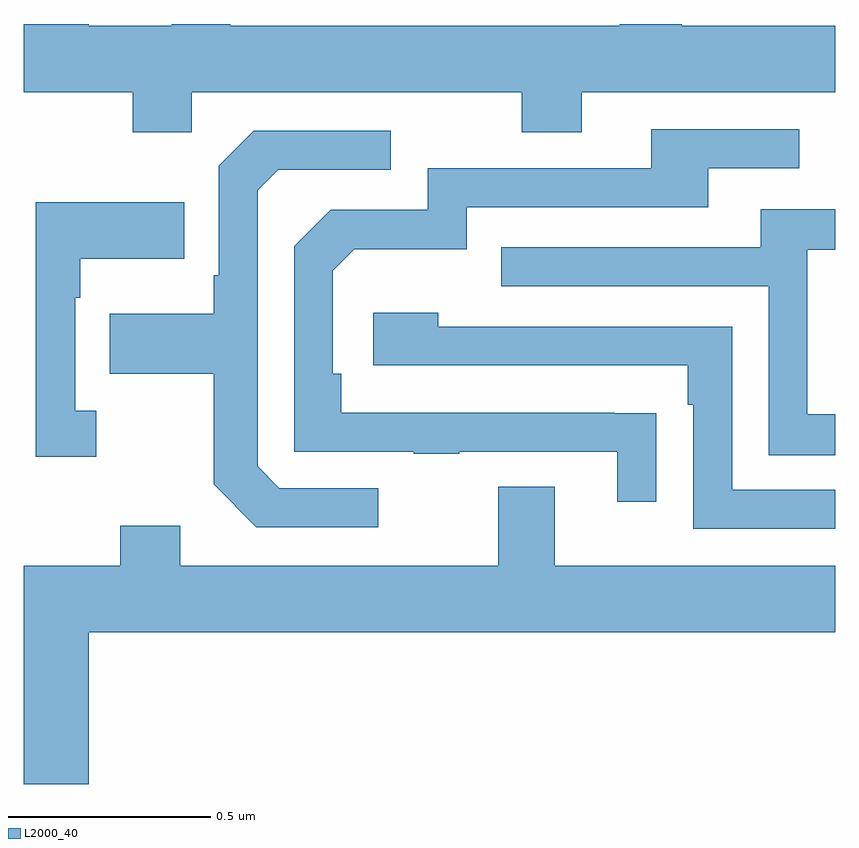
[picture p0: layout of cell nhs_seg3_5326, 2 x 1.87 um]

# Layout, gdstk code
import gdstk
lib = gdstk.Library(unit=1e-6, precision=1e-09)
def P(c, l, *ps):  # polygons
    for p in ps: c.add(gdstk.Polygon(p, *l))
L2000_40 = (2000, 40)

nhs_seg3_5326 = lib.new_cell('nhs_seg3_5326')
P(nhs_seg3_5326, L2000_40, [(177.414,718.232),(178.228,718.232),(178.228,718.133),(178.375,718.133),(178.375,718.232),(179,718.232),(179,718.396),(178.622,718.396),(178.622,718.4),(178.469,718.4),(178.469,718.396),(177.509,718.396),(177.509,718.4),(177.365,718.4),(177.365,718.396),(177.16,718.396),(177.16,718.4),(177,718.4),(177,718.232),(177.268,718.232),(177.268,718.133),(177.414,718.133)],
  [(178.559,717.44),(178.457,717.44),(178.457,717.441),(177.782,717.441),(177.782,717.538),(177.762,717.538),(177.762,717.792),(177.815,717.845),(178.092,717.845),(178.092,717.948),(178.687,717.948),(178.687,718.044),(178.912,718.044),(178.912,718.14),(178.547,718.14),(178.547,718.044),(177.996,718.044),(177.996,717.942),(177.756,717.942),(177.666,717.852),(177.666,717.345),(177.961,717.345),(177.961,717.34),(178.073,717.34),(178.073,717.345),(178.463,717.345),(178.463,717.222),(178.559,717.222)],
  [(177.874,717.255),(177.63,717.255),(177.576,717.309),(177.576,717.99),(177.627,718.041),(177.904,718.041),(177.904,718.137),(177.567,718.137),(177.48,718.05),(177.48,717.781),(177.468,717.781),(177.468,717.685),(177.211,717.685),(177.211,717.538),(177.468,717.538),(177.468,717.265),(177.573,717.159),(177.874,717.159)],
  [(177.178,717.446),(177.126,717.446),(177.126,717.725),(177.139,717.725),(177.139,717.821),(177.395,717.821),(177.395,717.961),(177.029,717.961),(177.029,717.333),(177.178,717.333)],
  [(179,717.438),(178.932,717.438),(178.932,717.843),(179,717.843),(179,717.943),(178.817,717.943),(178.817,717.849),(178.177,717.849),(178.177,717.753),(178.836,717.753),(178.836,717.337),(179,717.337)],
  [(179,717.252),(178.746,717.252),(178.746,717.654),(178.022,717.654),(178.022,717.688),(177.861,717.688),(177.861,717.558),(178.637,717.558),(178.637,717.461),(178.65,717.461),(178.65,717.156),(179,717.156)],
  [(177,716.526),(177.16,716.526),(177.16,716.9),(179,716.9),(179,717.064),(178.309,717.064),(178.309,717.259),(178.169,717.259),(178.169,717.064),(177.385,717.064),(177.385,717.163),(177.238,717.163),(177.238,717.064),(177,717.064)])

lib.write_gds('nhs_seg3_5326.gds')
